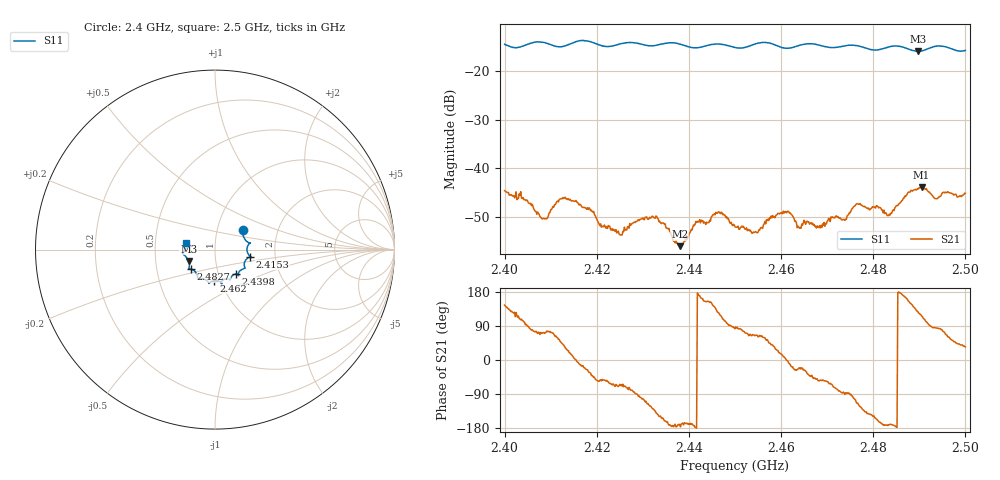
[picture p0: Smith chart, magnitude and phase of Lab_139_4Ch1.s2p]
# Hz S RI R 50
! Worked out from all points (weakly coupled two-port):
!   601 points, 2.4 GHz to 2.5 GHz, reference 50 ohm
!   highest |S21| = -43.94 dB at 2.4905 GHz (marker M1); lowest = -56.1 dB at 2.438 GHz (marker M2)
!   lowest |S11| = -15.9 dB at 2.4897 GHz (marker M3), VSWR 1.38, Z = 36.9 - j4.8 ohm
!   |S11| at or under -10 dB: start of sweep to end of sweep
!   S12 and S22 are empty: the file has one direction only
!   S11 on the Smith chart (normalised r, x): 2.4 GHz: 1.33, +0.30; 2.4153 GHz: 1.48, -0.12; 2.4398 GHz: 1.21, -0.34; 2.462 GHz: 0.93, -0.33; 2.4827 GHz: 0.75, -0.17; 2.5 GHz: 0.72, +0.06
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2.4e9  0.1556 0.1073  -0.00479 0.00338  0 0  0 0
2.4085e9  0.1944 0.0361  0.000952 0.00289  0 0  0 0
2.412333e9  0.1782 -0.00535  0.00342 0.00346  0 0  0 0
2.415333e9  0.1963 -0.0391  0.00456 0.000165  0 0  0 0
2.416667e9  0.2022 -0.043  0.0039 -0.00112  0 0  0 0
2.425e9  0.1644 -0.0963  0.000899 -0.00186  0 0  0 0
2.433333e9  0.1305 -0.1334  -0.00247 -0.00173  0 0  0 0
2.438e9  0.1291 -0.1401  -0.00155 -0.000276  0 0  0 0
2.439833e9  0.1157 -0.1358  -0.00189 -0.000339  0 0  0 0
2.446167e9  0.0853 -0.1704  -0.00205 0.00275  0 0  0 0
2.45e9  0.0655 -0.1625  0.000323 0.00246  0 0  0 0
2.4545e9  0.0356 -0.1878  0.000913 0.00203  0 0  0 0
2.462e9  -0.00504 -0.1731  0.00338 -0.000739  0 0  0 0
2.463833e9  -0.0261 -0.1815  0.0023 -0.000913  0 0  0 0
2.466667e9  -0.0344 -0.1884  0.00202 -0.00172  0 0  0 0
2.473667e9  -0.086 -0.1604  0.000173 -0.00296  0 0  0 0
2.476667e9  -0.096 -0.1552  -0.00175 -0.0039  0 0  0 0
2.482667e9  -0.1352 -0.1092  -0.00343 -0.000514  0 0  0 0
2.483333e9  -0.1403 -0.1087  -0.00321 -0.000523  0 0  0 0
2.489667e9  -0.1468 -0.0633  -0.00381 0.00487  0 0  0 0
2.4905e9  -0.1534 -0.0516  -0.0028 0.0057  0 0  0 0
2.5e9  -0.1589 0.0388  0.00453 0.00313  0 0  0 0
